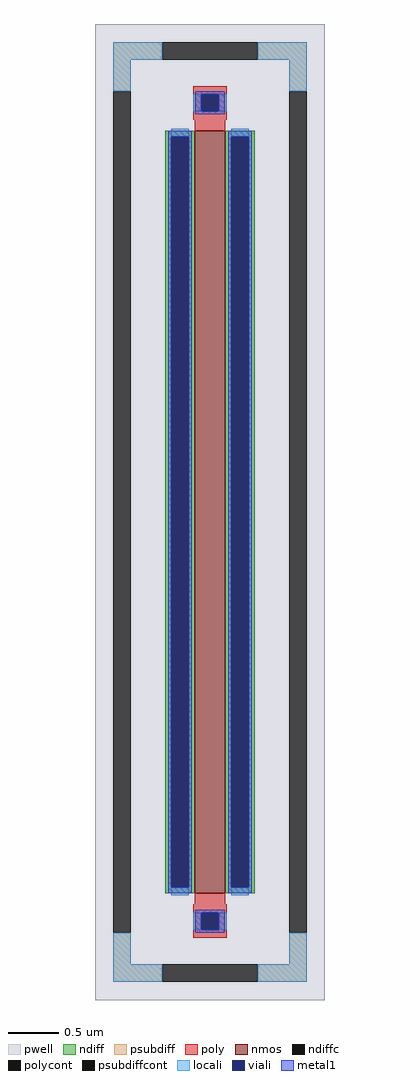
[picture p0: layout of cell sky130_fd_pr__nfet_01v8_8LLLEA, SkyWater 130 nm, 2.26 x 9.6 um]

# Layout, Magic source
magic
tech sky130A
magscale 1 2
<< pwell >>
rect -226 -960 226 960
<< nmos >>
rect -30 -750 30 750
<< ndiff >>
rect -88 738 -30 750
rect -88 -738 -76 738
rect -42 -738 -30 738
rect -88 -750 -30 -738
rect 30 738 88 750
rect 30 -738 42 738
rect 76 -738 88 738
rect 30 -750 88 -738
<< ndiffc >>
rect -76 -738 -42 738
rect 42 -738 76 738
<< psubdiff >>
rect -190 890 -94 924
rect 94 890 190 924
rect -190 828 -156 890
rect 156 828 190 890
rect -190 -890 -156 -828
rect 156 -890 190 -828
rect -190 -924 -94 -890
rect 94 -924 190 -890
<< psubdiffcont >>
rect -94 890 94 924
rect -190 -828 -156 828
rect 156 -828 190 828
rect -94 -924 94 -890
<< poly >>
rect -33 822 33 838
rect -33 788 -17 822
rect 17 788 33 822
rect -33 772 33 788
rect -30 750 30 772
rect -30 -772 30 -750
rect -33 -788 33 -772
rect -33 -822 -17 -788
rect 17 -822 33 -788
rect -33 -838 33 -822
<< polycont >>
rect -17 788 17 822
rect -17 -822 17 -788
<< locali >>
rect -190 890 -94 924
rect 94 890 190 924
rect -190 828 -156 890
rect 156 828 190 890
rect -33 788 -17 822
rect 17 788 33 822
rect -76 738 -42 754
rect -76 -754 -42 -738
rect 42 738 76 754
rect 42 -754 76 -738
rect -33 -822 -17 -788
rect 17 -822 33 -788
rect -190 -890 -156 -828
rect 156 -890 190 -828
rect -190 -924 -94 -890
rect 94 -924 190 -890
<< viali >>
rect -17 788 17 822
rect -76 -738 -42 738
rect 42 -738 76 738
rect -17 -822 17 -788
<< metal1 >>
rect -29 822 29 828
rect -29 788 -17 822
rect 17 788 29 822
rect -29 782 29 788
rect -82 738 -36 750
rect -82 -738 -76 738
rect -42 -738 -36 738
rect -82 -750 -36 -738
rect 36 738 82 750
rect 36 -738 42 738
rect 76 -738 82 738
rect 36 -750 82 -738
rect -29 -788 29 -782
rect -29 -822 -17 -788
rect 17 -822 29 -788
rect -29 -828 29 -822
<< properties >>
string FIXED_BBOX -173 -907 173 907
string gencell sky130_fd_pr__nfet_01v8
string library sky130
string parameters w 7.5 l 0.3 m 1 nf 1 diffcov 100 polycov 100 guard 1 glc 1 grc 1 gtc 1 gbc 1 tbcov 100 rlcov 100 topc 1 botc 1 poverlap 0 doverlap 1 lmin 0.15 wmin 0.42 compatible {sky130_fd_pr__nfet_01v8 sky130_fd_pr__nfet_01v8_lvt  sky130_fd_bs_flash__special_sonosfet_star  sky130_fd_pr__nfet_g5v0d10v5 sky130_fd_pr__nfet_05v0_nvt  sky130_fd_pr__nfet_03v3_nvt} full_metal 1 viasrc 100 viadrn 100 viagate 100 viagb 0 viagr 0 viagl 0 viagt 0
<< end >>
